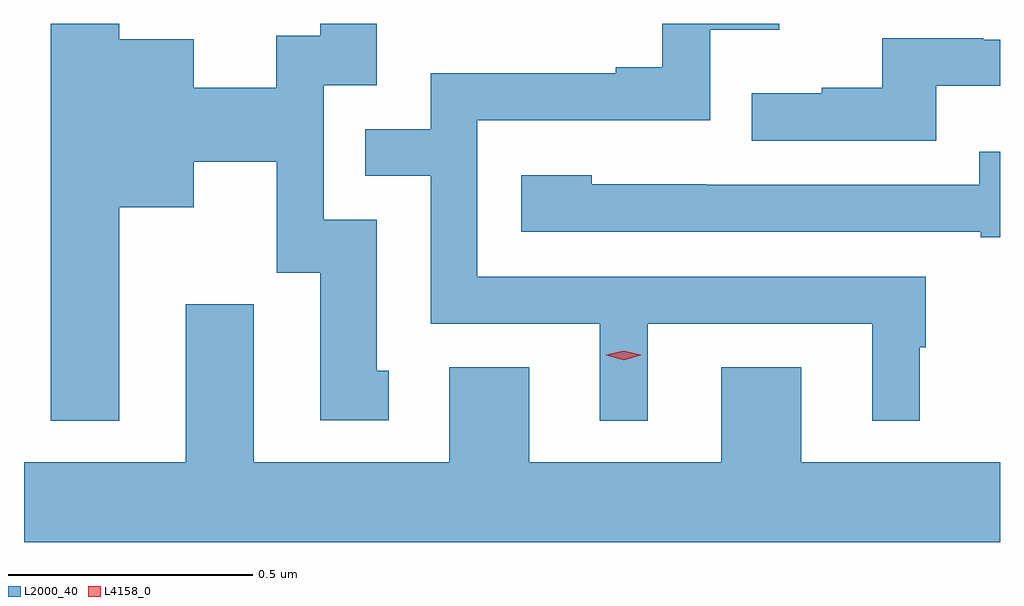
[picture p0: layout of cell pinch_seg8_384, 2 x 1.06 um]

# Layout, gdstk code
import gdstk
lib = gdstk.Library(unit=1e-6, precision=1e-09)
def P(c, l, *ps):  # polygons
    for p in ps: c.add(gdstk.Polygon(p, *l))
L2000_40 = (2000, 40)
L4158_0 = (4158, 0)

pinch_seg8_384 = lib.new_cell('pinch_seg8_384')
P(pinch_seg8_384, L2000_40, [(447.262,1114.284),(447.722,1114.284),(447.722,1114.085),(447.82,1114.085),(447.82,1114.236),(447.832,1114.236),(447.832,1114.38),(446.913,1114.38),(446.913,1114.701),(447.39,1114.701),(447.39,1114.886),(447.532,1114.886),(447.532,1114.899),(447.292,1114.899),(447.292,1114.81),(447.197,1114.81),(447.197,1114.797),(446.817,1114.797),(446.817,1114.683),(446.683,1114.683),(446.683,1114.587),(446.817,1114.587),(446.817,1114.284),(447.164,1114.284),(447.164,1114.085),(447.262,1114.085)],
  [(446.179,1114.523),(446.332,1114.523),(446.332,1114.616),(446.502,1114.616),(446.502,1114.389),(446.591,1114.389),(446.591,1114.086),(446.731,1114.086),(446.731,1114.188),(446.707,1114.188),(446.707,1114.497),(446.598,1114.497),(446.598,1114.773),(446.707,1114.773),(446.707,1114.899),(446.591,1114.899),(446.591,1114.874),(446.501,1114.874),(446.501,1114.768),(446.332,1114.768),(446.332,1114.867),(446.179,1114.867),(446.179,1114.899),(446.039,1114.899),(446.039,1114.085),(446.179,1114.085)],
  [(447.853,1114.772),(447.984,1114.772),(447.984,1114.866),(447.95,1114.866),(447.95,1114.869),(447.743,1114.869),(447.743,1114.768),(447.619,1114.768),(447.619,1114.756),(447.475,1114.756),(447.475,1114.659),(447.853,1114.659)],
  [(447.984,1114.636),(447.941,1114.636),(447.941,1114.569),(447.383,1114.569),(447.383,1114.57),(447.147,1114.57),(447.147,1114.588),(447.003,1114.588),(447.003,1114.473),(447.945,1114.473),(447.945,1114.461),(447.984,1114.461)],
  [(447.984,1114),(447.577,1114),(447.577,1114.195),(447.413,1114.195),(447.413,1114),(447.019,1114),(447.019,1114.195),(446.855,1114.195),(446.855,1114),(446.455,1114),(446.455,1114.324),(446.315,1114.324),(446.315,1114),(445.984,1114),(445.984,1113.836),(447.984,1113.836)])
P(pinch_seg8_384, L4158_0, [(447.213,1114.209),(447.177,1114.219),(447.177,1114.219),(447.177,1114.22),(447.213,1114.229),(447.248,1114.22),(447.249,1114.219),(447.248,1114.219)])

lib.write_gds('pinch_seg8_384.gds')
